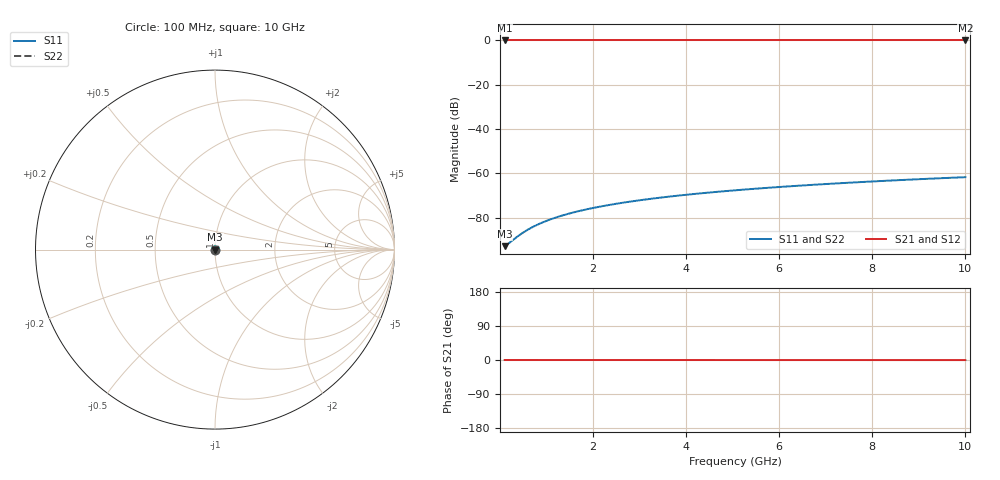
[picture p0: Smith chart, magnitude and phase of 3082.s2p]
# Hz S RI R 50.00
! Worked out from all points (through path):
!   100 points, 100 MHz to 10 GHz, reference 50 ohm
!   highest |S21| = 0.00 dB at 100 MHz (marker M1); lowest = 0.0 dB at 10 GHz (marker M2)
!   lowest |S11| = -92.9 dB at 100 MHz (marker M3), VSWR 1.00, Z = 50 + j0.00082 ohm
!   |S11| at or under -10 dB: start of sweep to end of sweep
!   |S22| runs from -92.9 to -61.7 dB; largest |S21 - S12| = 1e-15
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1e8  2.12e-05 8.2e-06  1 -3.35e-05  1 -3.35e-05  2.12e-05 8.2e-06
1.1e9  2.19e-05 9.02e-05  1 -0.000368  1 -0.000368  2.19e-05 9.02e-05
1.2e9  2.19e-05 9.83e-05  1 -0.000402  1 -0.000402  2.19e-05 9.83e-05
1.3e9  2.2e-05 0.000107  1 -0.000435  1 -0.000435  2.2e-05 0.000107
1.5e9  2.2e-05 0.000123  1 -0.000502  1 -0.000502  2.2e-05 0.000123
1.6e9  2.21e-05 0.000131  1 -0.000536  1 -0.000536  2.21e-05 0.000131
1.8e9  2.21e-05 0.000148  1 -0.000603  1 -0.000603  2.21e-05 0.000148
2.1e9  2.22e-05 0.000172  1 -0.000704  1 -0.000704  2.22e-05 0.000172
2.3e9  2.23e-05 0.000188  1 -0.000771  1 -0.000771  2.23e-05 0.000188
2.5e9  2.23e-05 0.000205  1 -0.000838  1 -0.000838  2.23e-05 0.000205
2.9e9  2.25e-05 0.000238  1 -0.000972  1 -0.000972  2.25e-05 0.000238
3.4e9  2.26e-05 0.000279  1 -0.00114  1 -0.00114  2.26e-05 0.000279
3.8e9  2.28e-05 0.000311  1 -0.00127  1 -0.00127  2.28e-05 0.000311
4.2e9  2.29e-05 0.000344  1 -0.00141  1 -0.00141  2.29e-05 0.000344
4.6e9  2.31e-05 0.000377  1 -0.00154  1 -0.00154  2.31e-05 0.000377
5.1e9  2.33e-05 0.000418  1 -0.00171  1 -0.00171  2.33e-05 0.000418
5.9e9  2.36e-05 0.000484  1 -0.00198  1 -0.00198  2.36e-05 0.000484
6.7e9  2.4e-05 0.000549  1 -0.00225  1 -0.00225  2.4e-05 0.000549
7.5e9  2.44e-05 0.000615  1 -0.00252  1 -0.00252  2.44e-05 0.000615
8.4e9  2.49e-05 0.000689  1 -0.00282  1 -0.00282  2.49e-05 0.000689
9.2e9  2.54e-05 0.000755  1 -0.00309  1 -0.00309  2.54e-05 0.000755
1e10  2.59e-05 0.000821  1 -0.00336  1 -0.00336  2.59e-05 0.000821
